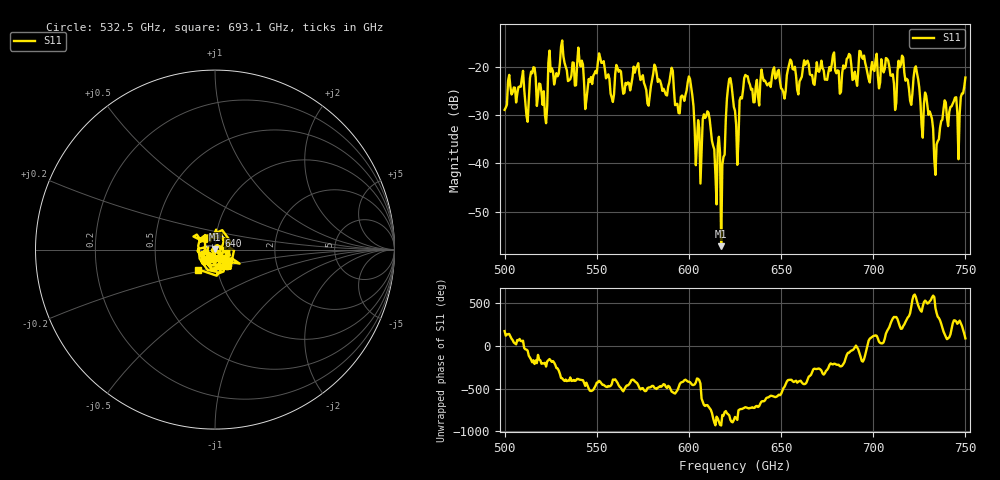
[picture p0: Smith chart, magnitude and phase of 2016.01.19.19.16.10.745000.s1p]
!Created with skrf (http://scikit-rf.org).
# GHz S RI R 50.0
!freq ReS11 ImS11
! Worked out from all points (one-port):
!   401 points, 500 GHz to 750 GHz, reference 50 ohm
!   lowest |S11| = -57.1 dB at 617.5 GHz (marker M1), VSWR 1.00, Z = 49.9 + j0.0688 ohm
!   |S11| at or under -10 dB: start of sweep to end of sweep
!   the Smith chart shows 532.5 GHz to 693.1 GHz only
!   S11 on the Smith chart (normalised r, x): 532.5 GHz: 1.13, -0.20; 640 GHz: 1.03, +0.16; 693.1 GHz: 0.81, -0.18
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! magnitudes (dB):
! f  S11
! 500 GHz  -28.9
! 508.8 GHz  -24.1
! 511.9 GHz  -30.2
! 515.6 GHz  -20.1
! 521.9 GHz  -30.0
! 525 GHz  -21.0
! 531.2 GHz  -14.6
! 532.5 GHz  -19.1
! 544.4 GHz  -26.9
! 562.5 GHz  -20.7
! 590.6 GHz  -20.2
! 593.8 GHz  -27.7
! 600.6 GHz  -22.6
! 605 GHz  -31.0
! 610 GHz  -29.2
! 617.5 GHz  -57.1
! 621.9 GHz  -22.5
! 625 GHz  -29.1
! 630.6 GHz  -21.7
! 640 GHz  -22.0
! 656.2 GHz  -20.5
! 687.5 GHz  -17.6
! 693.1 GHz  -16.8
! 718.8 GHz  -22.8
! 723.8 GHz  -21.3
! 734.4 GHz  -36.1
! 738.1 GHz  -28.8
! 750 GHz  -22.2
